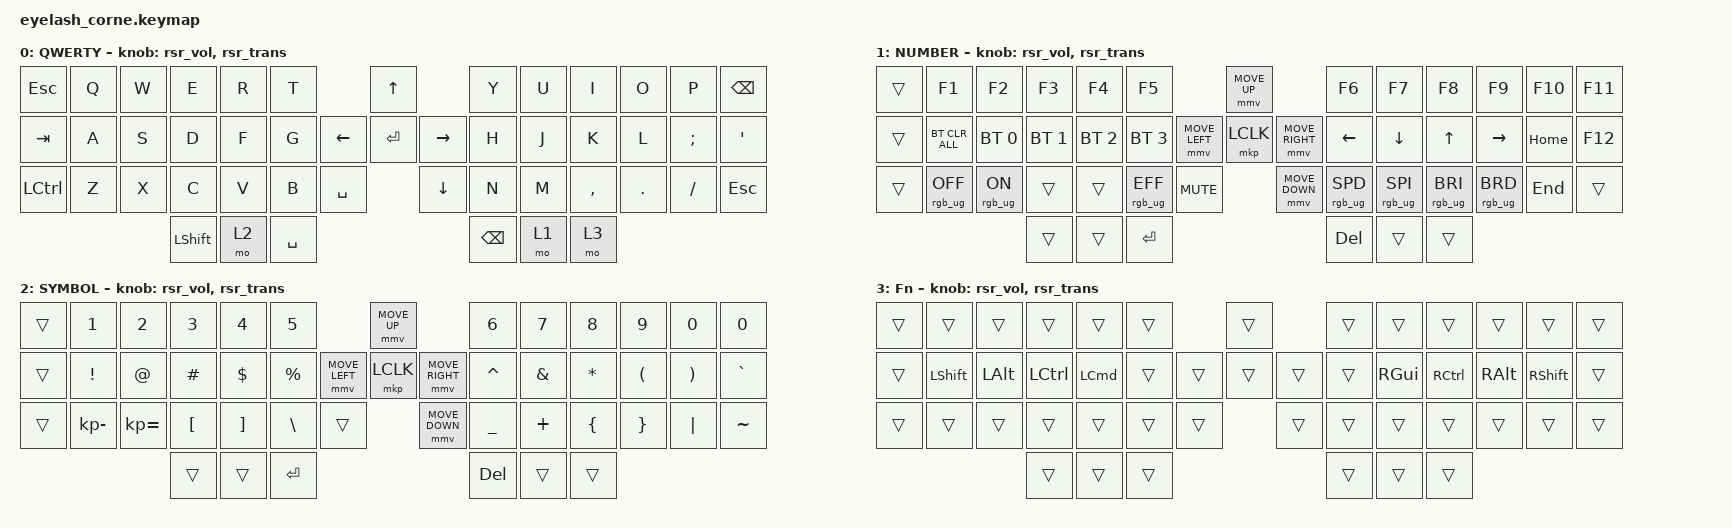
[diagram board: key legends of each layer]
#define ZMK_POINTING_DEFAULT_MOVE_VAL 1200  // 600
#define ZMK_POINTING_DEFAULT_SCRL_VAL 25   // 10

#include <input/processors.dtsi>
#include <zephyr/dt-bindings/input/input-event-codes.h>
#include <behaviors.dtsi>
#include <behaviors/runtime-sensor-rotate.dtsi>
#include <dt-bindings/zmk/bt.h>
#include <dt-bindings/zmk/keys.h>
#include <dt-bindings/zmk/outputs.h>
#include <dt-bindings/zmk/pointing.h>
#include <dt-bindings/zmk/rgb.h>

&soft_off { hold-time-ms = <2000>; };

/ {
    behaviors {
        td0: td0 {
            compatible = "zmk,behavior-tap-dance";
            display-name = "Shift/Caps Lock Tap Dance";
            #binding-cells = <0>;
            bindings = <&kp LEFT_SHIFT>, <&kp CAPS>;
        };

        rsr_vol: rsr_vol {
            compatible = "zmk,behavior-runtime-sensor-rotate";
            #sensor-binding-cells = <0>;
            tap-ms = <5>;
            cw-binding = <&kp C_VOL_UP>;
            ccw-binding = <&kp C_VOL_DN>;
        };

        rsr_trans: rsr_trans {
            compatible = "zmk,behavior-runtime-sensor-rotate";
            #sensor-binding-cells = <0>;
            tap-ms = <0>;
        };
    };

   combos {
        compatible = "zmk,combos";

        softoff {
            bindings = <&soft_off>;
            key-positions = <1 15 29>;
        };
    };

    keymap {
        compatible = "zmk,keymap";

        default_layer {
            display-name = "QWERTY";
            bindings = <
&kp TAB    &kp Q  &kp W  &kp E     &kp R  &kp T                               &kp UP                &kp Y        &kp U  &kp I      &kp O    &kp P     &kp BSPC
&td0       &kp A  &kp S  &kp D     &kp F  &kp G                     &kp LEFT  &kp ENTER  &kp RIGHT  &kp H        &kp J  &kp K      &kp L    &kp SEMI  &kp SQT
&kp LCTRL  &kp Z  &kp X  &kp C     &kp V  &kp B        &kp SPACE              &kp DOWN              &kp N        &kp M  &kp COMMA  &kp DOT  &kp FSLH  &kp ESC
                         &kp LGUI  &mo 1  &lt 3 SPACE                                               &lt 3 ENTER  &mo 2  &kp RALT
            >;

            sensor-bindings = <&rsr_vol &rsr_trans>;
        };

        lower_layer {
            display-name = "NUMBER";
            bindings = <
&trans  &kp N1           &kp N2          &kp N3        &kp N4        &kp N5                                         &mmv MOVE_UP                     &kp N6           &kp N7           &kp N8           &kp N9           &kp N0    &kp BSPC
&trans  &bt BT_CLR_ALL   &bt BT_SEL 0    &bt BT_SEL 1  &bt BT_SEL 2  &bt BT_SEL 3                   &mmv MOVE_LEFT  &mkp LCLK       &mmv MOVE_RIGHT  &kp LEFT         &kp DOWN         &kp UP           &kp RIGHT        &kp HOME  &kp PG_UP
&trans  &rgb_ug RGB_OFF  &rgb_ug RGB_ON  &trans        &trans        &rgb_ug RGB_EFF  &kp C_MUTE                    &mmv MOVE_DOWN                   &rgb_ug RGB_EFR  &rgb_ug RGB_SPI  &rgb_ug RGB_BRI  &rgb_ug RGB_BRD  &kp END   &kp PG_DN
                                         &trans        &trans        &trans                                                                          &kp INS          &kp DEL          &trans
            >;

            sensor-bindings = <&rsr_vol &rsr_trans>;
        };

        raise_layer {
            display-name = "SYMBOL";
            bindings = <
&trans  &kp EXCL      &kp AT        &kp HASH   &kp DLLR   &kp PRCNT                            &mmv MOVE_UP                     &kp CARET  &kp AMPS   &kp ASTRK  &kp LPAR  &kp RPAR  &kp BSPC
&trans  &bt BT_CLR    &mkp LCLK     &mkp MCLK  &mkp RCLK  &mkp MB4             &mmv MOVE_LEFT  &mkp LCLK       &mmv MOVE_RIGHT  &kp MINUS  &kp EQUAL  &kp LBKT   &kp RBKT  &kp BSLH  &kp GRAVE
&trans  &out OUT_USB  &out OUT_BLE  &none      &none      &mkp MB5   &trans                    &mmv MOVE_DOWN                   &kp UNDER  &kp PLUS   &kp LBRC   &kp RBRC  &kp PIPE  &kp TILDE
                                    &trans     &trans     &kp SPACE                                                             &kp RET    &trans     &trans
            >;

            sensor-bindings = <&rsr_vol &rsr_trans>;
        };

        layer_3 {
            display-name = "Fn";
            bindings = <
&studio_unlock  &kp F1      &kp F2     &kp F3       &kp F4     &kp F5                                  &mmv MOVE_UP                     &kp F6       &kp F7     &kp F8       &kp F9      &kp F10          &kp F11
&trans          &trans      &mkp LCLK  &mkp MCLK    &mkp RCLK  &mkp MB4                &mmv MOVE_LEFT  &mkp LCLK       &mmv MOVE_RIGHT  &bootloader  &mkp LCLK  &mkp MCLK    &mkp RCLK   &kp PRINTSCREEN  &kp F12
&trans          &sys_reset  &trans     &bootloader  &trans     &mkp MB5  &kp C_MUTE                    &mmv MOVE_DOWN                   &trans       &trans     &bootloader  &sys_reset  &kp SCROLLLOCK   &kp PAUSE_BREAK
                                       &trans       &trans     &trans                                                                   &trans       &trans     &trans
            >;

            sensor-bindings = <&rsr_vol &rsr_trans>;
        };
    };
};
#define ZMK_POINTING_DEFAULT_MOVE_VAL 1200  // 600
#define ZMK_POINTING_DEFAULT_SCRL_VAL 25   // 10

#include <input/processors.dtsi>
#include <zephyr/dt-bindings/input/input-event-codes.h>
#include <behaviors/runtime-sensor-rotate.dtsi>
#include <behaviors.dtsi>
#include <dt-bindings/zmk/bt.h>
#include <dt-bindings/zmk/keys.h>
#include <dt-bindings/zmk/pointing.h>
#include <dt-bindings/zmk/rgb.h>

&soft_off { hold-time-ms = <2000>; };

/ {
    behaviors {
        td0: td0 {
            compatible = "zmk,behavior-tap-dance";
            display-name = "Shift/Caps Lock Tap Dance";
            #binding-cells = <0>;
            bindings = <&kp LEFT_SHIFT>, <&kp CAPS>;
        };

        rsr_vol: rsr_vol {
            compatible = "zmk,behavior-runtime-sensor-rotate";
            #sensor-binding-cells = <0>;
            tap-ms = <5>;
            cw-binding = <&kp C_VOL_UP>;
            ccw-binding = <&kp C_VOL_DN>;
        };

        rsr_trans: rsr_trans {
            compatible = "zmk,behavior-runtime-sensor-rotate";
            #sensor-binding-cells = <0>;
            tap-ms = <0>;
        };
    };

    combos {
        compatible = "zmk,combos";

        softoff {
            bindings = <&soft_off>;
            key-positions = <1 15 29>;
        };
    };

    keymap {
        compatible = "zmk,keymap";

        default_layer {
            display-name = "QWERTY";
            bindings = <
&kp ESC    &kp Q  &kp W  &kp E           &kp R  &kp T                             &kp UP                &kp Y          &kp U  &kp I      &kp O    &kp P     &kp BSPC
&kp TAB    &kp A  &kp S  &kp D           &kp F  &kp G                   &kp LEFT  &kp ENTER  &kp RIGHT  &kp H          &kp J  &kp K      &kp L    &kp SEMI  &kp SQT
&kp LCTRL  &kp Z  &kp X  &kp C           &kp V  &kp B      &kp SPACE              &kp DOWN              &kp N          &kp M  &kp COMMA  &kp DOT  &kp FSLH  &kp ESC
                         &kp LEFT_SHIFT  &mo 1  &kp SPACE                                               &kp BACKSPACE  &mo 2  &mo 3
            >;

            sensor-bindings = <&rsr_vol &rsr_trans>;
        };

        lower_layer {
            display-name = "NUMBER";
            bindings = <
&trans  &kp F1           &kp F2          &kp F3        &kp F4        &kp F5                                         &mmv MOVE_UP                     &kp F6           &kp F7           &kp F8           &kp F9           &kp F10   &kp F11
&trans  &bt BT_CLR_ALL   &bt BT_SEL 0    &bt BT_SEL 1  &bt BT_SEL 2  &bt BT_SEL 3                   &mmv MOVE_LEFT  &mkp LCLK       &mmv MOVE_RIGHT  &kp LEFT         &kp DOWN         &kp UP           &kp RIGHT        &kp HOME  &kp F12
&trans  &rgb_ug RGB_OFF  &rgb_ug RGB_ON  &trans        &trans        &rgb_ug RGB_EFF  &kp C_MUTE                    &mmv MOVE_DOWN                   &rgb_ug RGB_SPD  &rgb_ug RGB_SPI  &rgb_ug RGB_BRI  &rgb_ug RGB_BRD  &kp END   &trans
                                         &trans        &trans        &trans                                                                          &trans           &trans           &trans
            >;

            sensor-bindings = <&rsr_vol &rsr_trans>;
        };

        raise_layer {
            display-name = "SYMBOL";
            bindings = <
&trans  &kp NUMBER_1     &kp NUMBER_2  &kp NUMBER_3      &kp NUMBER_4       &kp NUMBER_5                             &mmv MOVE_UP                     &kp NUMBER_6  &kp NUMBER_7   &kp NUMBER_8  &kp NUMBER_9          &kp NUMBER_0           &kp NUMBER_0
&trans  &kp EXCL         &kp AT_SIGN   &kp HASH          &kp DOLLAR         &kp PERCENT              &mmv MOVE_LEFT  &mkp LCLK       &mmv MOVE_RIGHT  &kp CARET     &kp AMPERSAND  &kp ASTERISK  &kp LEFT_PARENTHESIS  &kp RIGHT_PARENTHESIS  &kp GRAVE
&trans  &kp KP_SUBTRACT  &kp KP_EQUAL  &kp LEFT_BRACKET  &kp RIGHT_BRACKET  &kp BACKSLASH  &trans                    &mmv MOVE_DOWN                   &kp UNDER     &kp PLUS       &kp LBRC      &kp RBRC              &kp PIPE               &kp TILDE
                                       &trans            &trans             &kp ENTER                                                                 &kp DELETE    &trans         &trans
            >;

            sensor-bindings = <&rsr_vol &rsr_trans>;
        };

        layer_3 {
            bindings = <
&trans  &trans  &trans        &trans     &trans    &trans                    &trans          &trans  &trans    &trans     &trans    &trans  &trans
&trans  &trans  &kp LEFT_ALT  &kp LCTRL  &kp LCMD  &trans            &trans  &trans  &trans  &trans  &kp RGUI  &kp RCTRL  &kp RALT  &trans  &trans
&trans  &trans  &trans        &trans     &trans    &trans  &trans            &trans          &trans  &trans    &trans     &trans    &trans  &trans
                              &trans     &trans    &trans                                    &trans  &trans    &trans
            >;
        };
    };
};
#define ZMK_POINTING_DEFAULT_MOVE_VAL 1200  // 600
#define ZMK_POINTING_DEFAULT_SCRL_VAL 25   // 10

#include <input/processors.dtsi>
#include <zephyr/dt-bindings/input/input-event-codes.h>
#include <behaviors/runtime-sensor-rotate.dtsi>
#include <behaviors.dtsi>
#include <dt-bindings/zmk/bt.h>
#include <dt-bindings/zmk/keys.h>
#include <dt-bindings/zmk/pointing.h>
#include <dt-bindings/zmk/rgb.h>

&soft_off { hold-time-ms = <2000>; };

/ {
    behaviors {
        td0: td0 {
            compatible = "zmk,behavior-tap-dance";
            display-name = "Shift/Caps Lock Tap Dance";
            #binding-cells = <0>;
            bindings = <&kp LEFT_SHIFT>, <&kp CAPS>;
        };

        rsr_vol: rsr_vol {
            compatible = "zmk,behavior-runtime-sensor-rotate";
            #sensor-binding-cells = <0>;
            tap-ms = <5>;
            cw-binding = <&kp C_VOL_UP>;
            ccw-binding = <&kp C_VOL_DN>;
        };

        rsr_trans: rsr_trans {
            compatible = "zmk,behavior-runtime-sensor-rotate";
            #sensor-binding-cells = <0>;
            tap-ms = <0>;
        };
    };

    combos {
        compatible = "zmk,combos";

        softoff {
            bindings = <&soft_off>;
            key-positions = <1 15 29>;
        };
    };

    keymap {
        compatible = "zmk,keymap";

        default_layer {
            display-name = "QWERTY";
            bindings = <
&kp ESC    &kp Q  &kp W  &kp E           &kp R  &kp T                             &kp UP                &kp Y          &kp U  &kp I      &kp O    &kp P     &kp BSPC
&kp TAB    &kp A  &kp S  &kp D           &kp F  &kp G                   &kp LEFT  &kp ENTER  &kp RIGHT  &kp H          &kp J  &kp K      &kp L    &kp SEMI  &kp SQT
&kp LCTRL  &kp Z  &kp X  &kp C           &kp V  &kp B      &kp SPACE              &kp DOWN              &kp N          &kp M  &kp COMMA  &kp DOT  &kp FSLH  &kp ESC
                         &kp LEFT_SHIFT  &mo 2  &kp SPACE                                               &kp BACKSPACE  &mo 1  &mo 3
            >;

            sensor-bindings = <&rsr_vol &rsr_trans>;
        };

        lower_layer {
            display-name = "NUMBER";
            bindings = <
&trans  &kp F1           &kp F2          &kp F3        &kp F4        &kp F5                                         &mmv MOVE_UP                     &kp F6           &kp F7           &kp F8           &kp F9           &kp F10   &kp F11
&trans  &bt BT_CLR_ALL   &bt BT_SEL 0    &bt BT_SEL 1  &bt BT_SEL 2  &bt BT_SEL 3                   &mmv MOVE_LEFT  &mkp LCLK       &mmv MOVE_RIGHT  &kp LEFT         &kp DOWN         &kp UP           &kp RIGHT        &kp HOME  &kp F12
&trans  &rgb_ug RGB_OFF  &rgb_ug RGB_ON  &trans        &trans        &rgb_ug RGB_EFF  &kp C_MUTE                    &mmv MOVE_DOWN                   &rgb_ug RGB_SPD  &rgb_ug RGB_SPI  &rgb_ug RGB_BRI  &rgb_ug RGB_BRD  &kp END   &trans
                                         &trans        &trans        &kp ENTER                                                                       &kp DELETE       &trans           &trans
            >;

            sensor-bindings = <&rsr_vol &rsr_trans>;
        };

        raise_layer {
            display-name = "SYMBOL";
            bindings = <
&trans  &kp NUMBER_1     &kp NUMBER_2  &kp NUMBER_3      &kp NUMBER_4       &kp NUMBER_5                             &mmv MOVE_UP                     &kp NUMBER_6  &kp NUMBER_7   &kp NUMBER_8  &kp NUMBER_9          &kp NUMBER_0           &kp NUMBER_0
&trans  &kp EXCL         &kp AT_SIGN   &kp HASH          &kp DOLLAR         &kp PERCENT              &mmv MOVE_LEFT  &mkp LCLK       &mmv MOVE_RIGHT  &kp CARET     &kp AMPERSAND  &kp ASTERISK  &kp LEFT_PARENTHESIS  &kp RIGHT_PARENTHESIS  &kp GRAVE
&trans  &kp KP_SUBTRACT  &kp KP_EQUAL  &kp LEFT_BRACKET  &kp RIGHT_BRACKET  &kp BACKSLASH  &trans                    &mmv MOVE_DOWN                   &kp UNDER     &kp PLUS       &kp LBRC      &kp RBRC              &kp PIPE               &kp TILDE
                                       &trans            &trans             &kp ENTER                                                                 &kp DELETE    &trans         &trans
            >;

            sensor-bindings = <&rsr_vol &rsr_trans>;
        };

        layer_3 {
            bindings = <
&trans  &trans  &trans        &trans     &trans    &trans                    &trans          &trans  &trans    &trans     &trans    &trans  &trans
&trans  &trans  &kp LEFT_ALT  &kp LCTRL  &kp LCMD  &trans            &trans  &trans  &trans  &trans  &kp RGUI  &kp RCTRL  &kp RALT  &trans  &trans
&trans  &trans  &trans        &trans     &trans    &trans  &trans            &trans          &trans  &trans    &trans     &trans    &trans  &trans
                              &trans     &trans    &trans                                    &trans  &trans    &trans
            >;
        };
    };
};

#define ZMK_POINTING_DEFAULT_MOVE_VAL 1200  // 600
#define ZMK_POINTING_DEFAULT_SCRL_VAL 25   // 10

#include <input/processors.dtsi>
#include <zephyr/dt-bindings/input/input-event-codes.h>
#include <behaviors/runtime-sensor-rotate.dtsi>
#include <behaviors.dtsi>
#include <dt-bindings/zmk/bt.h>
#include <dt-bindings/zmk/keys.h>
#include <dt-bindings/zmk/pointing.h>
#include <dt-bindings/zmk/rgb.h>

&soft_off { hold-time-ms = <2000>; };

/ {
    behaviors {
        td0: td0 {
            compatible = "zmk,behavior-tap-dance";
            display-name = "Shift/Caps Lock Tap Dance";
            #binding-cells = <0>;
            bindings = <&kp LEFT_SHIFT>, <&kp CAPS>;
        };

        rsr_vol: rsr_vol {
            compatible = "zmk,behavior-runtime-sensor-rotate";
            #sensor-binding-cells = <0>;
            tap-ms = <5>;
            cw-binding = <&kp C_VOL_UP>;
            ccw-binding = <&kp C_VOL_DN>;
        };

        rsr_trans: rsr_trans {
            compatible = "zmk,behavior-runtime-sensor-rotate";
            #sensor-binding-cells = <0>;
            tap-ms = <0>;
        };
    };

    combos {
        compatible = "zmk,combos";

        softoff {
            bindings = <&soft_off>;
            key-positions = <1 15 29>;
        };
    };

    keymap {
        compatible = "zmk,keymap";

        default_layer {
            display-name = "QWERTY";
            bindings = <
&kp ESC    &kp Q  &kp W  &kp E           &kp R  &kp T                             &kp UP                &kp Y          &kp U  &kp I      &kp O    &kp P     &kp BSPC
&kp TAB    &kp A  &kp S  &kp D           &kp F  &kp G                   &kp LEFT  &kp ENTER  &kp RIGHT  &kp H          &kp J  &kp K      &kp L    &kp SEMI  &kp SQT
&kp LCTRL  &kp Z  &kp X  &kp C           &kp V  &kp B      &kp SPACE              &kp DOWN              &kp N          &kp M  &kp COMMA  &kp DOT  &kp FSLH  &kp ESC
                         &kp LEFT_SHIFT  &mo 2  &kp SPACE                                               &kp BACKSPACE  &mo 1  &mo 3
            >;

            sensor-bindings = <&rsr_vol &rsr_trans>;
        };

        lower_layer {
            display-name = "NUMBER";
            bindings = <
&trans  &kp F1           &kp F2          &kp F3        &kp F4        &kp F5                                         &mmv MOVE_UP                     &kp F6           &kp F7           &kp F8           &kp F9           &kp F10   &kp F11
&trans  &bt BT_CLR_ALL   &bt BT_SEL 0    &bt BT_SEL 1  &bt BT_SEL 2  &bt BT_SEL 3                   &mmv MOVE_LEFT  &mkp LCLK       &mmv MOVE_RIGHT  &kp LEFT         &kp DOWN         &kp UP           &kp RIGHT        &kp HOME  &kp F12
&trans  &rgb_ug RGB_OFF  &rgb_ug RGB_ON  &trans        &trans        &rgb_ug RGB_EFF  &kp C_MUTE                    &mmv MOVE_DOWN                   &rgb_ug RGB_SPD  &rgb_ug RGB_SPI  &rgb_ug RGB_BRI  &rgb_ug RGB_BRD  &kp END   &trans
                                         &trans        &trans        &kp ENTER                                                                       &kp DELETE       &trans           &trans
            >;

            sensor-bindings = <&rsr_vol &rsr_trans>;
        };

        raise_layer {
            display-name = "SYMBOL";
            bindings = <
&trans  &kp NUMBER_1     &kp NUMBER_2  &kp NUMBER_3      &kp NUMBER_4       &kp NUMBER_5                             &mmv MOVE_UP                     &kp NUMBER_6  &kp NUMBER_7   &kp NUMBER_8  &kp NUMBER_9          &kp NUMBER_0           &kp NUMBER_0
&trans  &kp EXCL         &kp AT_SIGN   &kp HASH          &kp DOLLAR         &kp PERCENT              &mmv MOVE_LEFT  &mkp LCLK       &mmv MOVE_RIGHT  &kp CARET     &kp AMPERSAND  &kp ASTERISK  &kp LEFT_PARENTHESIS  &kp RIGHT_PARENTHESIS  &kp GRAVE
&trans  &kp KP_SUBTRACT  &kp KP_EQUAL  &kp LEFT_BRACKET  &kp RIGHT_BRACKET  &kp BACKSLASH  &trans                    &mmv MOVE_DOWN                   &kp UNDER     &kp PLUS       &kp LBRC      &kp RBRC              &kp PIPE               &kp TILDE
                                       &trans            &trans             &kp ENTER                                                                 &kp DELETE    &trans         &trans
            >;

            sensor-bindings = <&rsr_vol &rsr_trans>;
        };

        layer_3 {
            bindings = <
&trans  &trans  &trans        &trans     &trans    &trans                    &trans          &trans  &trans    &trans     &trans    &trans  &trans
&trans  &trans  &kp LEFT_ALT  &kp LCTRL  &kp LCMD  &trans            &trans  &trans  &trans  &trans  &kp RGUI  &kp RCTRL  &kp RALT  &trans  &trans
&trans  &trans  &trans        &trans     &trans    &trans  &trans            &trans          &trans  &trans    &trans     &trans    &trans  &trans
                              &trans     &trans    &trans                                    &trans  &trans    &trans
            >;
        };
    };
};

#define ZMK_POINTING_DEFAULT_MOVE_VAL 1200  // 600
#define ZMK_POINTING_DEFAULT_SCRL_VAL 25   // 10

#include <input/processors.dtsi>
#include <zephyr/dt-bindings/input/input-event-codes.h>
#include <behaviors/runtime-sensor-rotate.dtsi>
#include <behaviors.dtsi>
#include <dt-bindings/zmk/bt.h>
#include <dt-bindings/zmk/keys.h>
#include <dt-bindings/zmk/pointing.h>
#include <dt-bindings/zmk/rgb.h>

&soft_off { hold-time-ms = <2000>; };

/ {
    behaviors {
        td0: td0 {
            compatible = "zmk,behavior-tap-dance";
            display-name = "Shift/Caps Lock Tap Dance";
            #binding-cells = <0>;
            bindings = <&kp LEFT_SHIFT>, <&kp CAPS>;
        };

        rsr_vol: rsr_vol {
            compatible = "zmk,behavior-runtime-sensor-rotate";
            #sensor-binding-cells = <0>;
            tap-ms = <5>;
            cw-binding = <&kp C_VOL_UP>;
            ccw-binding = <&kp C_VOL_DN>;
        };

        rsr_trans: rsr_trans {
            compatible = "zmk,behavior-runtime-sensor-rotate";
            #sensor-binding-cells = <0>;
            tap-ms = <0>;
        };
    };

    combos {
        compatible = "zmk,combos";

        softoff {
            bindings = <&soft_off>;
            key-positions = <1 15 29>;
        };
    };

    keymap {
        compatible = "zmk,keymap";

        default_layer {
            display-name = "QWERTY";
            bindings = <
&kp ESC    &kp Q  &kp W  &kp E           &kp R  &kp T                             &kp UP                &kp Y          &kp U  &kp I      &kp O    &kp P     &kp BSPC
&kp TAB    &kp A  &kp S  &kp D           &kp F  &kp G                   &kp LEFT  &kp ENTER  &kp RIGHT  &kp H          &kp J  &kp K      &kp L    &kp SEMI  &kp SQT
&kp LCTRL  &kp Z  &kp X  &kp C           &kp V  &kp B      &kp SPACE              &kp DOWN              &kp N          &kp M  &kp COMMA  &kp DOT  &kp FSLH  &kp ESC
                         &kp LEFT_SHIFT  &mo 2  &kp SPACE                                               &kp BACKSPACE  &mo 1  &mo 3
            >;

            sensor-bindings = <&rsr_vol &rsr_trans>;
        };

        lower_layer {
            display-name = "NUMBER";
            bindings = <
&trans  &kp F1           &kp F2          &kp F3        &kp F4        &kp F5                                         &mmv MOVE_UP                     &kp F6           &kp F7           &kp F8           &kp F9           &kp F10   &kp F11
&trans  &bt BT_CLR_ALL   &bt BT_SEL 0    &bt BT_SEL 1  &bt BT_SEL 2  &bt BT_SEL 3                   &mmv MOVE_LEFT  &mkp LCLK       &mmv MOVE_RIGHT  &kp LEFT         &kp DOWN         &kp UP           &kp RIGHT        &kp HOME  &kp F12
&trans  &rgb_ug RGB_OFF  &rgb_ug RGB_ON  &trans        &trans        &rgb_ug RGB_EFF  &kp C_MUTE                    &mmv MOVE_DOWN                   &rgb_ug RGB_SPD  &rgb_ug RGB_SPI  &rgb_ug RGB_BRI  &rgb_ug RGB_BRD  &kp END   &trans
                                         &trans        &trans        &kp ENTER                                                                       &kp DELETE       &trans           &trans
            >;

            sensor-bindings = <&rsr_vol &rsr_trans>;
        };

        raise_layer {
            display-name = "SYMBOL";
            bindings = <
&trans  &kp NUMBER_1     &kp NUMBER_2  &kp NUMBER_3      &kp NUMBER_4       &kp NUMBER_5                             &mmv MOVE_UP                     &kp NUMBER_6  &kp NUMBER_7   &kp NUMBER_8  &kp NUMBER_9          &kp NUMBER_0           &kp NUMBER_0
&trans  &kp EXCL         &kp AT_SIGN   &kp HASH          &kp DOLLAR         &kp PERCENT              &mmv MOVE_LEFT  &mkp LCLK       &mmv MOVE_RIGHT  &kp CARET     &kp AMPERSAND  &kp ASTERISK  &kp LEFT_PARENTHESIS  &kp RIGHT_PARENTHESIS  &kp GRAVE
&trans  &kp KP_SUBTRACT  &kp KP_EQUAL  &kp LEFT_BRACKET  &kp RIGHT_BRACKET  &kp BACKSLASH  &trans                    &mmv MOVE_DOWN                   &kp UNDER     &kp PLUS       &kp LBRC      &kp RBRC              &kp PIPE               &kp TILDE
                                       &trans            &trans             &kp ENTER                                                                 &kp DELETE    &trans         &trans
            >;

            sensor-bindings = <&rsr_vol &rsr_trans>;
        };

        layer_3 {
            bindings = <
&trans  &trans  &trans        &trans     &trans    &trans                    &trans          &trans  &trans    &trans     &trans    &trans  &trans
&trans  &trans  &kp LEFT_ALT  &kp LCTRL  &kp LCMD  &trans            &trans  &trans  &trans  &trans  &kp RGUI  &kp RCTRL  &kp RALT  &trans  &trans
&trans  &trans  &trans        &trans     &trans    &trans  &trans            &trans          &trans  &trans    &trans     &trans    &trans  &trans
                              &trans     &trans    &trans                                    &trans  &trans    &trans
            >;
        };
    };
};

#define ZMK_POINTING_DEFAULT_MOVE_VAL 1200  // 600
#define ZMK_POINTING_DEFAULT_SCRL_VAL 25   // 10

#include <input/processors.dtsi>
#include <zephyr/dt-bindings/input/input-event-codes.h>
#include <behaviors/runtime-sensor-rotate.dtsi>
#include <behaviors.dtsi>
#include <dt-bindings/zmk/bt.h>
#include <dt-bindings/zmk/keys.h>
#include <dt-bindings/zmk/pointing.h>
#include <dt-bindings/zmk/rgb.h>

&soft_off { hold-time-ms = <2000>; };

/ {
    behaviors {
        td0: td0 {
            compatible = "zmk,behavior-tap-dance";
            display-name = "Shift/Caps Lock Tap Dance";
            #binding-cells = <0>;
            bindings = <&kp LEFT_SHIFT>, <&kp CAPS>;
        };

        rsr_vol: rsr_vol {
            compatible = "zmk,behavior-runtime-sensor-rotate";
            #sensor-binding-cells = <0>;
            tap-ms = <5>;
            cw-binding = <&kp C_VOL_UP>;
            ccw-binding = <&kp C_VOL_DN>;
        };

        rsr_trans: rsr_trans {
            compatible = "zmk,behavior-runtime-sensor-rotate";
            #sensor-binding-cells = <0>;
            tap-ms = <0>;
        };
    };

    combos {
        compatible = "zmk,combos";

        softoff {
            bindings = <&soft_off>;
            key-positions = <1 15 29>;
        };
    };

    keymap {
        compatible = "zmk,keymap";

        default_layer {
            display-name = "QWERTY";
            bindings = <
&kp ESC    &kp Q  &kp W  &kp E           &kp R  &kp T                             &kp UP                &kp Y          &kp U  &kp I      &kp O    &kp P     &kp BSPC
&kp TAB    &kp A  &kp S  &kp D           &kp F  &kp G                   &kp LEFT  &kp ENTER  &kp RIGHT  &kp H          &kp J  &kp K      &kp L    &kp SEMI  &kp SQT
&kp LCTRL  &kp Z  &kp X  &kp C           &kp V  &kp B      &kp SPACE              &kp DOWN              &kp N          &kp M  &kp COMMA  &kp DOT  &kp FSLH  &kp ESC
                         &kp LEFT_SHIFT  &mo 2  &kp SPACE                                               &kp BACKSPACE  &mo 1  &mo 3
            >;

            sensor-bindings = <&rsr_vol &rsr_trans>;
        };

        lower_layer {
            display-name = "NUMBER";
            bindings = <
&trans  &kp F1           &kp F2          &kp F3        &kp F4        &kp F5                                         &mmv MOVE_UP                     &kp F6           &kp F7           &kp F8           &kp F9           &kp F10   &kp F11
&trans  &bt BT_CLR_ALL   &bt BT_SEL 0    &bt BT_SEL 1  &bt BT_SEL 2  &bt BT_SEL 3                   &mmv MOVE_LEFT  &mkp LCLK       &mmv MOVE_RIGHT  &kp LEFT         &kp DOWN         &kp UP           &kp RIGHT        &kp HOME  &kp F12
&trans  &rgb_ug RGB_OFF  &rgb_ug RGB_ON  &trans        &trans        &rgb_ug RGB_EFF  &kp C_MUTE                    &mmv MOVE_DOWN                   &rgb_ug RGB_SPD  &rgb_ug RGB_SPI  &rgb_ug RGB_BRI  &rgb_ug RGB_BRD  &kp END   &trans
                                         &trans        &trans        &kp ENTER                                                                       &kp DELETE       &trans           &trans
            >;

            sensor-bindings = <&rsr_vol &rsr_trans>;
        };

        raise_layer {
            display-name = "SYMBOL";
            bindings = <
&trans  &kp NUMBER_1     &kp NUMBER_2  &kp NUMBER_3      &kp NUMBER_4       &kp NUMBER_5                             &mmv MOVE_UP                     &kp NUMBER_6  &kp NUMBER_7   &kp NUMBER_8  &kp NUMBER_9          &kp NUMBER_0           &kp NUMBER_0
&trans  &kp EXCL         &kp AT_SIGN   &kp HASH          &kp DOLLAR         &kp PERCENT              &mmv MOVE_LEFT  &mkp LCLK       &mmv MOVE_RIGHT  &kp CARET     &kp AMPERSAND  &kp ASTERISK  &kp LEFT_PARENTHESIS  &kp RIGHT_PARENTHESIS  &kp GRAVE
&trans  &kp KP_SUBTRACT  &kp KP_EQUAL  &kp LEFT_BRACKET  &kp RIGHT_BRACKET  &kp BACKSLASH  &trans                    &mmv MOVE_DOWN                   &kp UNDER     &kp PLUS       &kp LBRC      &kp RBRC              &kp PIPE               &kp TILDE
                                       &trans            &trans             &kp ENTER                                                                 &kp DELETE    &trans         &trans
            >;

            sensor-bindings = <&rsr_vol &rsr_trans>;
        };

        layer_3 {
            bindings = <
&trans  &trans      &trans        &trans     &trans    &trans                    &trans          &trans  &trans    &trans     &trans    &trans      &trans
&trans  &kp LSHIFT  &kp LEFT_ALT  &kp LCTRL  &kp LCMD  &trans            &trans  &trans  &trans  &trans  &kp RGUI  &kp RCTRL  &kp RALT  &kp RSHIFT  &trans
&trans  &trans      &trans        &trans     &trans    &trans  &trans            &trans          &trans  &trans    &trans     &trans    &trans      &trans
                                  &trans     &trans    &trans                                    &trans  &trans    &trans
            >;
        };
    };
};
